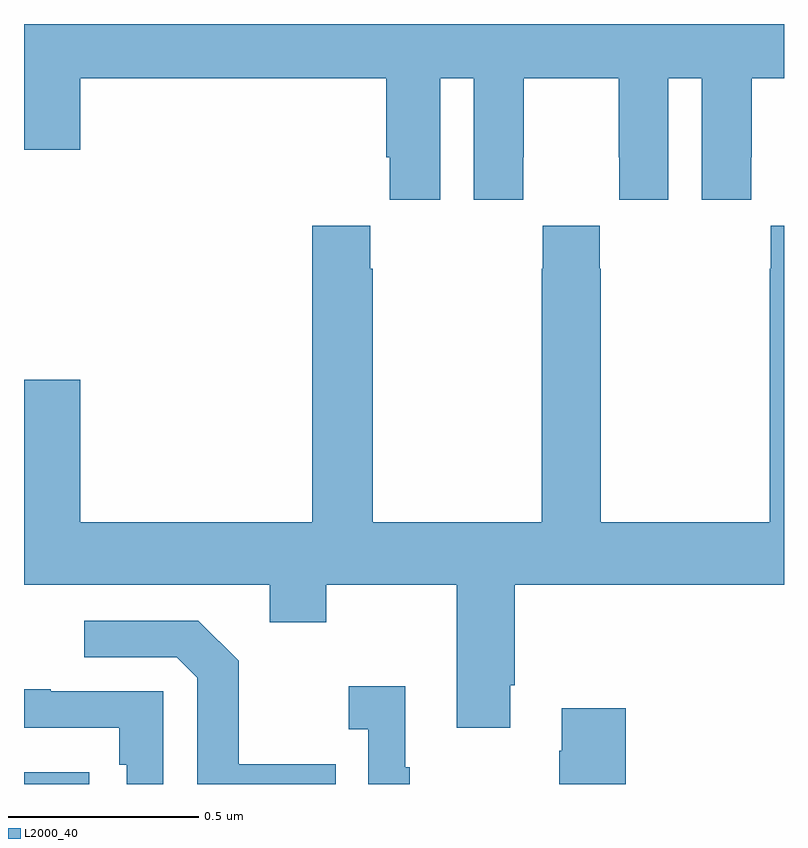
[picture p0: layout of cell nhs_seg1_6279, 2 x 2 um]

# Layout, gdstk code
import gdstk
lib = gdstk.Library(unit=1e-6, precision=1e-09)
def R(c, l, rs):  # rectangles x0, y0, x1, y1
    for r in rs: c.add(gdstk.rectangle(r[:2], r[2:], *l))
def P(c, l, *ps):  # polygons
    for p in ps: c.add(gdstk.Polygon(p, *l))
L2000_40 = (2000, 40)

nhs_seg1_6279 = lib.new_cell('nhs_seg1_6279')
R(nhs_seg1_6279, L2000_40, [(189,559.199,189.172,559.23)])
P(nhs_seg1_6279, L2000_40, [(190.096,561.056),(190.184,561.056),(190.184,560.736),(190.314,560.736),(190.314,560.848),(190.315,560.848),(190.315,561.056),(190.565,561.056),(190.565,560.848),(190.566,560.848),(190.566,560.736),(190.696,560.736),(190.696,561.056),(190.784,561.056),(190.784,560.736),(190.914,560.736),(190.914,560.848),(190.915,560.848),(190.915,561.056),(191,561.056),(191,561.199),(189,561.199),(189,560.868),(189.148,560.868),(189.148,561.056),(189.953,561.056),(189.953,560.848),(189.962,560.848),(189.962,560.736),(190.096,560.736)],
  [(190.279,559.459),(190.292,559.459),(190.292,559.724),(191,559.724),(191,560.668),(190.965,560.668),(190.965,560.555),(190.963,560.555),(190.963,559.888),(190.518,559.888),(190.518,560.555),(190.515,560.555),(190.515,560.668),(190.365,560.668),(190.365,560.555),(190.363,560.555),(190.363,559.888),(189.918,559.888),(189.918,560.555),(189.911,560.555),(189.911,560.668),(189.758,560.668),(189.758,559.888),(189.148,559.888),(189.148,560.263),(189,560.263),(189,559.724),(189.647,559.724),(189.647,559.625),(189.795,559.625),(189.795,559.724),(190.139,559.724),(190.139,559.347),(190.279,559.347)],
  [(189.821,559.251),(189.565,559.251),(189.565,559.523),(189.459,559.629),(189.159,559.629),(189.159,559.533),(189.402,559.533),(189.456,559.479),(189.456,559.199),(189.821,559.199)],
  [(190.015,559.243),(190.003,559.243),(190.003,559.456),(189.855,559.456),(189.855,559.343),(189.906,559.343),(189.906,559.199),(190.015,559.199)],
  [(189.366,559.443),(189.071,559.443),(189.071,559.448),(189,559.448),(189,559.347),(189.25,559.347),(189.25,559.25),(189.27,559.25),(189.27,559.199),(189.366,559.199)],
  [(190.583,559.399),(190.415,559.399),(190.415,559.286),(190.408,559.286),(190.408,559.199),(190.583,559.199)])

lib.write_gds('nhs_seg1_6279.gds')
